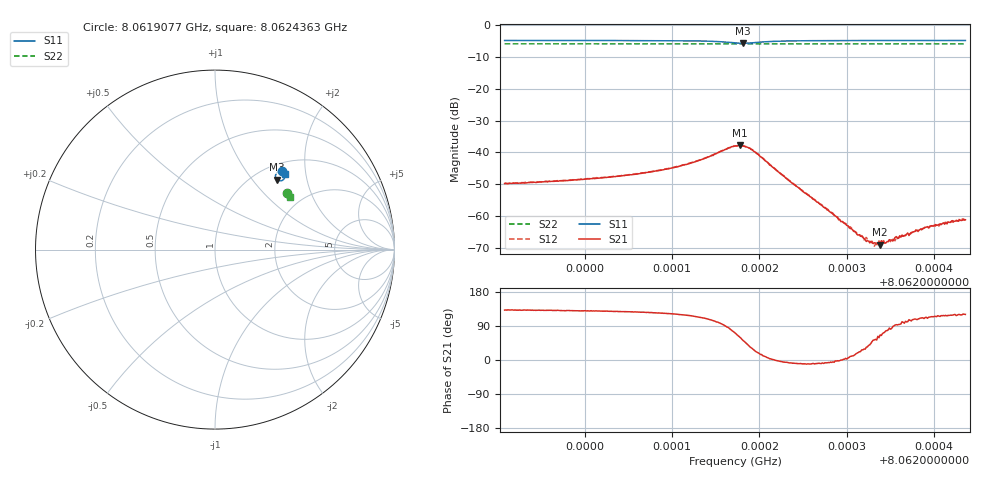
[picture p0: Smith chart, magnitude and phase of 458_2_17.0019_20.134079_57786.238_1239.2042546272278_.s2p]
#  HZ  S  RI  R  50.00
! Rohde & Schwarz Vector Network Analyzer
! Rohde-Schwarz,ZNB20-2Port,1311601062101988,3.16
! Created: UTC 3/20/2024, 11:12:39 PM
! freq[Hz]  re:S11  im:S11  re:S21  im:S21  re:S12  im:S12  re:S22  im:S22
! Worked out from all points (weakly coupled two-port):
!   401 points, 8.0619077 GHz to 8.0624363 GHz, reference 50 ohm
!   highest |S21| = -37.81 dB at 8.0621773 GHz (marker M1); lowest = -69.1 dB at 8.0623385 GHz (marker M2)
!   lowest |S11| = -5.7 dB at 8.0621812 GHz (marker M3), VSWR 3.17, Z = 62.9 + j67.2 ohm
!   |S11| at or under -10 dB: nowhere
!   |S22| runs from -5.9 to -5.8 dB; largest |S21 - S12| = 0.00093
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8.06190769e9  0.371 0.4407  -0.00215 0.00241  -0.00202 0.00253  0.4003 0.3168
8.06199623e9  0.3777 0.4345  -0.0024 0.00287  -0.00225 0.00306  0.4037 0.3122
8.06204777e9  0.382 0.4297  -0.00265 0.00347  -0.00245 0.00363  0.4057 0.3094
8.06208477e9  0.3856 0.4246  -0.00292 0.00429  -0.00268 0.00449  0.4069 0.3075
8.06212706e9  0.3896 0.4126  -0.003 0.00652  -0.00263 0.00675  0.4084 0.305
8.062172e9  0.3636 0.3827  0.00396 0.0119  0.00472 0.0118  0.4083 0.3017
8.06217728e9  0.3532 0.3846  0.00634 0.0112  0.00699 0.0109  0.4081 0.3018
8.06218125e9  0.346 0.3891  0.00786 0.00981  0.00842 0.00957  0.4081 0.3019
8.06218918e9  0.3376 0.4031  0.00949 0.00655  0.00993 0.00608  0.4081 0.3023
8.06219446e9  0.3373 0.4126  0.00926 0.00435  0.00956 0.00379  0.4082 0.3024
8.06223279e9  0.3615 0.4354  0.00369 -0.000439  0.00367 -0.000695  0.4109 0.3013
8.06226054e9  0.3712 0.4346  0.00186 -0.00032  0.00187 -0.000462  0.4124 0.2999
8.06228169e9  0.3758 0.4332  0.00113 -0.000109  0.00113 -0.000221  0.4134 0.2988
8.06231076e9  0.3802 0.4309  0.000522 0.000154  0.000546 9.92e-05  0.4145 0.2971
8.06232398e9  0.3819 0.4301  0.000334 0.000232  0.000367 0.000204  0.4147 0.2963
8.06233323e9  0.3828 0.4292  0.000216 0.000304  0.000235 0.000276  0.4152 0.2959
8.06233851e9  0.3834 0.429  0.000142 0.000323  0.000183 0.000314  0.4154 0.2957
8.06234512e9  0.3841 0.4285  8.27e-05 0.000365  0.000103 0.000364  0.4157 0.2953
8.06234908e9  0.3844 0.4283  4.24e-05 0.000419  8.8e-05 0.000411  0.4158 0.2951
8.06239005e9  0.3882 0.4256  -0.000245 0.000615  -0.000201 0.000625  0.4172 0.2929
8.06241516e9  0.39 0.4241  -0.000334 0.000672  -0.000335 0.000682  0.4182 0.2915
8.06243631e9  0.3916 0.4227  -0.000438 0.00075  -0.000425 0.000782  0.4187 0.2905
